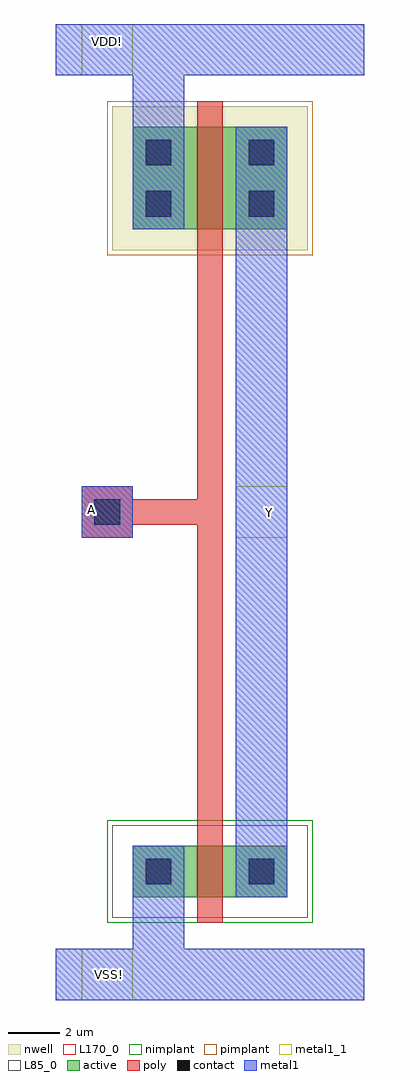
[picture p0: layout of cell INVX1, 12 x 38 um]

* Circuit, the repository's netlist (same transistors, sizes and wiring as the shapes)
* +++++++++++++++++++++++++++++++++++++++++++++++++++++++++ *
* CDL Netlist:                                              *
*                                                           *
* Cell Name  : INVX1                                        *
* Netlisted  : Sun Jan  9 02:37:03 2022                     *
* PVS Version: 16.15-s010 Fri Jun 28 22:24:07 PDT 2019      *
* +++++++++++++++++++++++++++++++++++++++++++++++++++++++++ *
*.LDD
*.DEVTMPLT 0 MN(nmos3) _nmos1v _soi_nd(D) poly_conn(G) _soi_nsb(S) _soi_nsb(B)
*.DEVTMPLT 1 MP(pmos3) _pmos1v _soi_pd(D) poly_conn(G) _soi_psb(S) _soi_psb(B)

* +++++++++++++++++++++++++++++++++++++++++++++++++++++++++ *
* Sub cell: nmos3_CDNS_2                                    *
* +++++++++++++++++++++++++++++++++++++++++++++++++++++++++ *
.subckt nmos3_CDNS_2 2 3 4
** N=4 EP=3 FDC=1
M0 3 4 2 2 nmos3 L=1e-06 W=2e-06 AD=5e-12 AS=0 PD=9e-06 PS=0 fw=2e-06 sa=2e-06 sb=2e-06 $X=7000 $Y=2000 $dt=0
.ends nmos3_CDNS_2

* +++++++++++++++++++++++++++++++++++++++++++++++++++++++++ *
* Sub cell: pmos3_CDNS_3                                    *
* +++++++++++++++++++++++++++++++++++++++++++++++++++++++++ *
.subckt pmos3_CDNS_3 2 3 4
** N=5 EP=3 FDC=1
M0 3 4 2 2 pmos3 L=1e-06 W=4e-06 AD=1e-11 AS=0 PD=1.3e-05 PS=0 fw=4e-06 sa=2e-06 sb=2e-06 $X=7000 $Y=2000 $dt=1
.ends pmos3_CDNS_3

* +++++++++++++++++++++++++++++++++++++++++++++++++++++++++ *
* Sub cell: INVX1                                           *
* +++++++++++++++++++++++++++++++++++++++++++++++++++++++++ *
.subckt INVX1 A VDD! VSS! Y
** N=5 EP=4 FDC=2
X0 VSS! Y A nmos3_CDNS_2 $T=20000 4000 1 180 $X=4000 $Y=4000
X1 VDD! Y A pmos3_CDNS_3 $T=20000 68000 0 180 $X=4000 $Y=54000
.ends INVX1

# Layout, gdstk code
from math import pi, radians
import gdstk
lib = gdstk.Library(unit=1e-6, precision=5e-10)
def R(c, l, rs):  # rectangles x0, y0, x1, y1
    for r in rs: c.add(gdstk.rectangle(r[:2], r[2:], *l))
def A(c, l, x, y, w, h, nx, ny, dx, dy):  # array of equal rectangles
    R(c, l, [(x+i*dx, y+j*dy, x+i*dx+w, y+j*dy+h) for i in range(nx) for j in range(ny)])
active = (1, 0)
nwell = (2, 0)
poly = (3, 0)
nimplant = (4, 0)
pimplant = (5, 0)
contact = (6, 0)
metal1 = (7, 0)
metal1_1 = (7, 1)
L85_0 = (85, 0)
L170_0 = (170, 0)

nmos3_cdns_2 = lib.new_cell('nmos3_CDNS_2')
R(nmos3_cdns_2, active, [(1,1,7,3)])
R(nmos3_cdns_2, poly, [(3.5,0,4.5,5), (3.6,3.5,4.4,3.9)])
R(nmos3_cdns_2, nimplant, [(0,0,8,4)])
R(nmos3_cdns_2, contact, [(1.5,1.5,2.5,2.5), (5.5,1.5,6.5,2.5), (5.5,1.5,6.5,2.5)])
R(nmos3_cdns_2, metal1, [(1,1,3,3), (5,1,7,3), (1.3,1.3,2.7,2.7), (5.3,1.3,6.7,2.7)])
R(nmos3_cdns_2, L85_0, [(0.2,0.2,7.8,3.8)])
R(nmos3_cdns_2, L170_0, [(4.5,1,7,3)])

pmos3_cdns_3 = lib.new_cell('pmos3_CDNS_3')
R(pmos3_cdns_3, active, [(1,1,7,5)])
R(pmos3_cdns_3, nwell, [(0.2,0.2,7.8,5.8)])
R(pmos3_cdns_3, poly, [(3.5,0,4.5,7), (3.6,5.6,4.4,5.9)])
R(pmos3_cdns_3, pimplant, [(0,0,8,6)])
R(pmos3_cdns_3, contact, [(1.5,1.5,2.5,2.5), (5.5,1.5,6.5,2.5), (5.5,1.5,6.5,2.5), (1.5,3.5,2.5,4.5), (5.5,3.5,6.5,4.5)])
R(pmos3_cdns_3, metal1, [(1,1,3,5), (5,1,7,5), (1.3,1.3,2.7,2.7), (5.3,1.3,6.7,2.7)])
R(pmos3_cdns_3, L170_0, [(4.5,1,7,5)])

m1_po_cdns_1 = lib.new_cell('M1_PO_CDNS_1')
R(m1_po_cdns_1, poly, [(-1,-1,1,1)])
R(m1_po_cdns_1, contact, [(-0.5,-0.5,0.5,0.5)])
R(m1_po_cdns_1, metal1, [(-1,-1,1,1)])

invx1 = lib.new_cell('INVX1')
R(invx1, metal1, [(1,17,3,19)])
A(invx1, metal1_1, 1, -1, 2, 2, 1, 3, 0, 18)
R(invx1, metal1_1, [(7,17,9,19)])
invx1.add(gdstk.FlexPath([(6,5.1),(6,18)], 1, ends=(0, 0.5), simple_path=True, layer=3, datatype=0))  # poly
invx1.add(gdstk.FlexPath([(6,18),(2.6,18)], 1, ends=(0.5, 0), simple_path=True, layer=3, datatype=0))  # poly
invx1.add(gdstk.FlexPath([(6,18),(6,27.7)], 1, ends=(0.5, 0), simple_path=True, layer=3, datatype=0))  # poly
invx1.add(gdstk.FlexPath([(4,36),(12,36)], 2, ends=(1, 0), simple_path=True, layer=7, datatype=0))  # metal1
invx1.add(gdstk.FlexPath([(4,0),(12,0)], 2, ends=(1, 0), simple_path=True, layer=7, datatype=0))  # metal1
invx1.add(gdstk.FlexPath([(0,0),(4,0)], 2, ends=(0, 1), simple_path=True, layer=7, datatype=0))  # metal1
invx1.add(gdstk.FlexPath([(4,4.9),(4,0)], 2, ends=(0, 1), simple_path=True, layer=7, datatype=0))  # metal1
invx1.add(gdstk.FlexPath([(0,36),(4,36)], 2, ends=(0, 1), simple_path=True, layer=7, datatype=0))  # metal1
invx1.add(gdstk.FlexPath([(4,29.5),(4,36)], 2, ends=(0, 1), simple_path=True, layer=7, datatype=0))  # metal1
invx1.add(gdstk.FlexPath([(8,3.1),(8,32.8)], 2, ends="flush", simple_path=True, layer=7, datatype=0))  # metal1
invx1.add(gdstk.Reference(nmos3_cdns_2, (10,2), rotation=pi, x_reflection=True))
invx1.add(gdstk.Reference(pmos3_cdns_3, (10,34), rotation=pi))
invx1.add(gdstk.Reference(m1_po_cdns_1, (2,18)))
invx1.add(gdstk.Label('VSS!', (2.1,0), layer=7, texttype=3))
invx1.add(gdstk.Label('VDD!', (2,36.3), layer=7, texttype=3))
invx1.add(gdstk.Label('Y', (8.3,18), layer=7, texttype=3))
invx1.add(gdstk.Label('A', (1.4,18.1), layer=7, texttype=3))

lib.write_gds('INVX1.gds')
